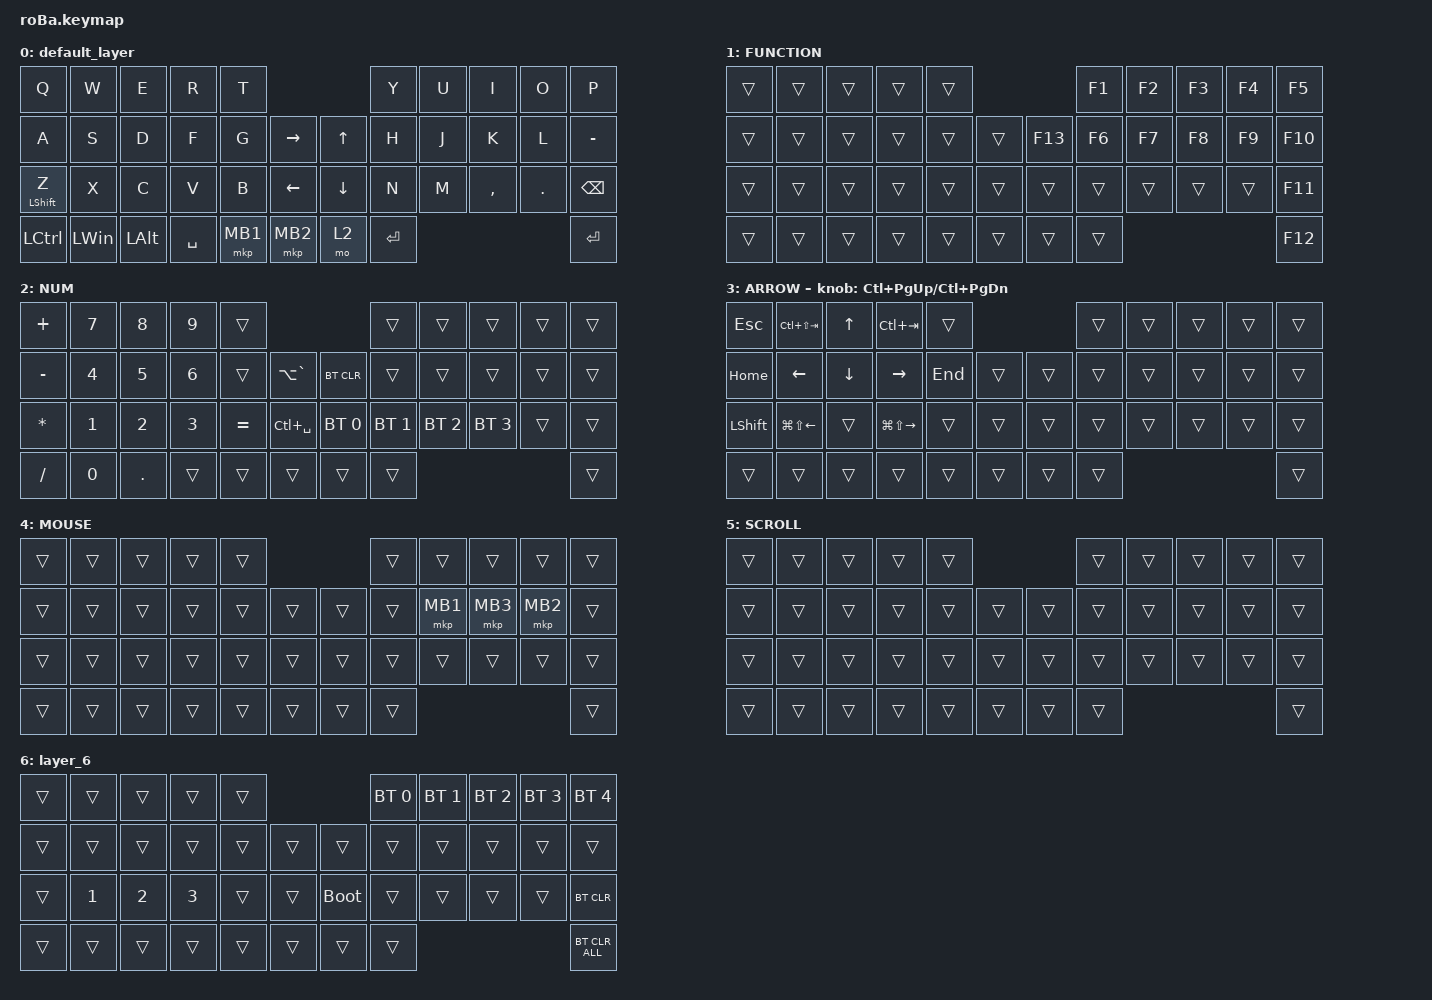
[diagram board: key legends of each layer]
#include <behaviors.dtsi>
#include <dt-bindings/zmk/bt.h>
#include <dt-bindings/zmk/keys.h>
#include <dt-bindings/zmk/pointing.h>

&mt {
    flavor = "balanced";
    quick-tap-ms = <0>;
};

&trackball {
    automouse-layer = <4>;
    scroll-layers = <5>;

    // arrows {
    //     layers = <3>;
    //     bindings =
    //         <&kp RIGHT_ARROW>,
    //         <&kp LEFT_ARROW>,
    //         <&kp UP_ARROW>,
    //         <&kp DOWN_ARROW>;
    //     tick = <10>;
    //     wait-ms = <5>;
    //     tap-ms = <5>;
    // };
};

/ {
    combos {
        compatible = "zmk,combos";

        tab {
            bindings = <&kp TAB>;
            key-positions = <11 12>;
        };

        shift_tab {
            bindings = <&kp LS(TAB)>;
            key-positions = <12 13>;
        };

        muhennkann {
            bindings = <&to_layer_0 INT_MUHENKAN>;
            key-positions = <11 10>;
        };

        double_quotation {
            bindings = <&kp DOUBLE_QUOTES>;
            key-positions = <20 21>;
        };

        eq {
            bindings = <&kp EQUAL>;
            key-positions = <24 25>;
        };
    };

    macros {
        to_layer_0: to_layer_0 {
            compatible = "zmk,behavior-macro-one-param";
            #binding-cells = <1>;
            bindings = <&to 0 &macro_param_1to1 &kp MACRO_PLACEHOLDER>;
            label = "TO_LAYER_0";
        };
    };

    behaviors {
        lt_to_layer_0: lt_to_layer_0 {
            compatible = "zmk,behavior-hold-tap";
            label = "LAYER_TAP_TO_0";
            bindings = <&mo>, <&to_layer_0>;

            #binding-cells = <2>;
            tapping-term-ms = <200>;
        };

        ht: ht {
            compatible = "zmk,behavior-hold-tap";
            label = "HT";
            bindings = <&kp>, <&kp>;

            #binding-cells = <2>;
            tapping-term-ms = <200>;
            quick-tap-ms = <150>;
        };
    };

    keymap {
        compatible = "zmk,keymap";

        default_layer {
            bindings = <
&kp Q             &kp W         &kp E         &kp R      &kp T                                          &kp Y    &kp U  &kp I      &kp O    &kp P
&kp A             &kp S         &kp D         &kp F      &kp G     &kp RIGHT_ARROW      &kp UP_ARROW    &kp H    &kp J  &kp K      &kp L    &kp MINUS
&mt LEFT_SHIFT Z  &kp X         &kp C         &kp V      &kp B     &kp LEFT_ARROW       &kp DOWN_ARROW  &kp N    &kp M  &kp COMMA  &kp DOT  &kp BACKSPACE
&kp LCTRL         &kp LEFT_WIN  &kp LEFT_ALT  &kp SPACE  &mkp MB1  &mkp MB2             &mo 2           &kp RET                             &kp ENTER
            >;
        };

        FUNCTION {
            bindings = <
&trans  &trans  &trans  &trans  &trans                       &kp F1  &kp F2  &kp F3  &kp F4  &kp F5
&trans  &trans  &trans  &trans  &trans  &trans      &kp F13  &kp F6  &kp F7  &kp F8  &kp F9  &kp F10
&trans  &trans  &trans  &trans  &trans  &trans      &trans   &trans  &trans  &trans  &trans  &kp F11
&trans  &trans  &trans  &trans  &trans  &trans      &trans   &trans                          &kp F12
            >;
        };

        NUM {
            bindings = <
&kp PLUS   &kp NUMBER_7  &kp NUMBER_8  &kp NUMBER_9  &trans                                      &trans        &trans        &trans        &trans  &trans
&kp MINUS  &kp NUMBER_4  &kp NUMBER_5  &kp NUMBER_6  &trans     &kp LA(GRAVE)      &bt BT_CLR    &trans        &trans        &trans        &trans  &trans
&kp ASTRK  &kp NUMBER_1  &kp NUMBER_2  &kp NUMBER_3  &kp EQUAL  &kp LC(SPACE)      &bt BT_SEL 0  &bt BT_SEL 1  &bt BT_SEL 2  &bt BT_SEL 3  &trans  &trans
&kp SLASH  &kp NUMBER_0  &kp PERIOD    &trans        &trans     &trans             &trans        &trans                                            &trans
            >;
        };

        ARROW {
            bindings = <
&kp ESCAPE      &kp LC(LS(TAB))         &kp UP_ARROW    &kp LC(TAB)              &trans                       &trans  &trans  &trans  &trans  &trans
&kp HOME        &kp LEFT_ARROW          &kp DOWN_ARROW  &kp RIGHT_ARROW          &kp END  &trans      &trans  &trans  &trans  &trans  &trans  &trans
&kp LEFT_SHIFT  &kp LG(LS(LEFT_ARROW))  &trans          &kp LG(LS(RIGHT_ARROW))  &trans   &trans      &trans  &trans  &trans  &trans  &trans  &trans
&trans          &trans                  &trans          &trans                   &trans   &trans      &trans  &trans                          &trans
            >;

            sensor-bindings = <&inc_dec_kp LC(PAGE_UP) LC(PAGE_DOWN)>;
        };

        MOUSE {
            bindings = <
&trans  &trans  &trans  &trans  &trans                      &trans  &trans    &trans    &trans    &trans
&trans  &trans  &trans  &trans  &trans  &trans      &trans  &trans  &mkp MB1  &mkp MB3  &mkp MB2  &trans
&trans  &trans  &trans  &trans  &trans  &trans      &trans  &trans  &trans    &trans    &trans    &trans
&trans  &trans  &trans  &trans  &trans  &trans      &trans  &trans                                &trans
            >;
        };

        SCROLL {
            bindings = <
&trans  &trans  &trans  &trans  &trans                      &trans  &trans  &trans  &trans  &trans
&trans  &trans  &trans  &trans  &trans  &trans      &trans  &trans  &trans  &trans  &trans  &trans
&trans  &trans  &trans  &trans  &trans  &trans      &trans  &trans  &trans  &trans  &trans  &trans
&trans  &trans  &trans  &trans  &trans  &trans      &trans  &trans                          &trans
            >;
        };

        layer_6 {
            bindings = <
&trans  &trans        &trans        &trans        &trans                           &bt BT_SEL 0  &bt BT_SEL 1  &bt BT_SEL 2  &bt BT_SEL 3  &bt BT_SEL 4
&trans  &trans        &trans        &trans        &trans  &trans      &trans       &trans        &trans        &trans        &trans        &trans
&trans  &kp NUMBER_1  &kp NUMBER_2  &kp NUMBER_3  &trans  &trans      &bootloader  &trans        &trans        &trans        &trans        &bt BT_CLR
&trans  &trans        &trans        &trans        &trans  &trans      &trans       &trans                                                  &bt BT_CLR_ALL
            >;
        };
    };
};
